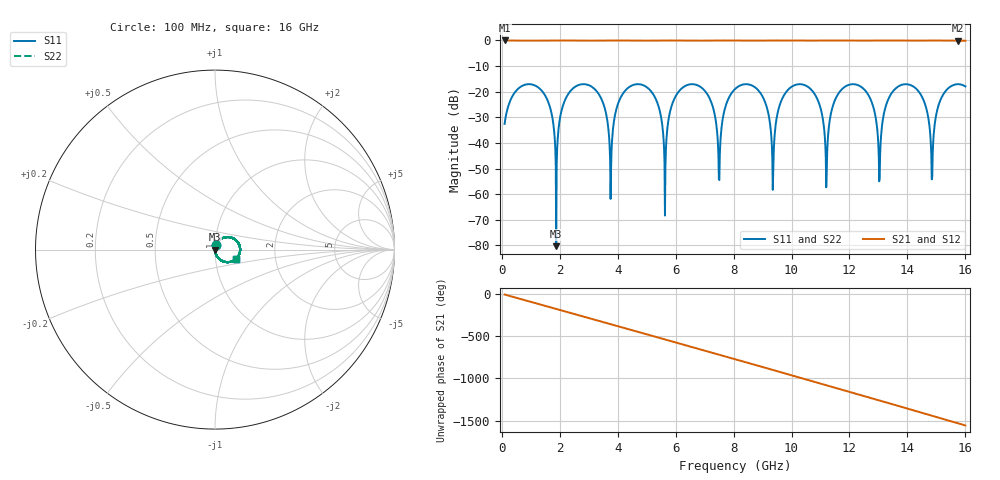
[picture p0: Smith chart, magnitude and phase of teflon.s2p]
! TOUCHSTONE file generated by CST MICROWAVE STUDIO
! Date and time: Mon Mar 13 18:03:51 2023
! Project name: Untitled_0.cst
! Header version: 2018
! Port assignment regex: !\s*Touchstone port\s*([0-9]+)\s*=\s*(CST MWS port|CST DS port)\s*([0-9]+|Zmin|Zmax)\s*\(\"(.*)\"\)(\s*mode\s*([0-9]+))?.*
! Touchstone port assignment:
! Touchstone port 1 = CST MWS port 1 ("")
! Touchstone port 2 = CST MWS port 2 ("")
# GHz S MA R 50
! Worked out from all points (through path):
!   1001 points, 100 MHz to 16 GHz, reference 50 ohm
!   highest |S21| = 0.00 dB at 100 MHz (marker M1); lowest = -0.1 dB at 15.75 GHz (marker M2)
!   group delay of S21, straight-line fit = 270 ps
!   lowest |S11| = -80.3 dB at 1.881 GHz (marker M3), VSWR 1.00, Z = 50 - j0.00914 ohm
!   |S11| at or under -10 dB: start of sweep to end of sweep
!   |S22| runs from -77.0 to -17.1 dB; largest |S21 - S12| = 1.7e-06
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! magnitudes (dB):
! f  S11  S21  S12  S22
! 100 MHz  -32.6  0.0  0.0  -32.6
! 1.213 GHz  -18.0  -0.1  -0.1  -18.0
! 1.881 GHz  -80.3  0.0  0.0  -77.0
! 2.755 GHz  -17.1  -0.1  -0.1  -17.1
! 3.757 GHz  -61.8  0.0  0.0  -61.8
! 4.345 GHz  -18.7  -0.1  -0.1  -18.7
! 5.411 GHz  -25.7  0.0  0.0  -25.7
! 5.633 GHz  -68.4  0.0  0.0  -68.3
! 6.857 GHz  -18.1  -0.1  -0.1  -18.1
! 7.509 GHz  -54.5  0.0  0.0  -54.5
! 8.05 GHz  -19.0  -0.1  -0.1  -19.0
! 9.354 GHz  -58.3  0.0  0.0  -58.4
! 9.799 GHz  -20.4  -0.1  -0.1  -20.4
! 10.71 GHz  -19.5  -0.1  -0.1  -19.5
! 11.2 GHz  -57.3  0.0  0.0  -57.4
! 11.8 GHz  -18.4  -0.1  -0.1  -18.4
! 13.03 GHz  -55.0  0.0  0.0  -55.1
! 13.36 GHz  -22.5  0.0  0.0  -22.5
! 14.35 GHz  -19.4  -0.1  -0.1  -19.4
! 14.86 GHz  -53.7  0.0  0.0  -53.7
! 15.75 GHz  -17.1  -0.1  -0.1  -17.1
! 16 GHz  -17.9  -0.1  -0.1  -17.9
